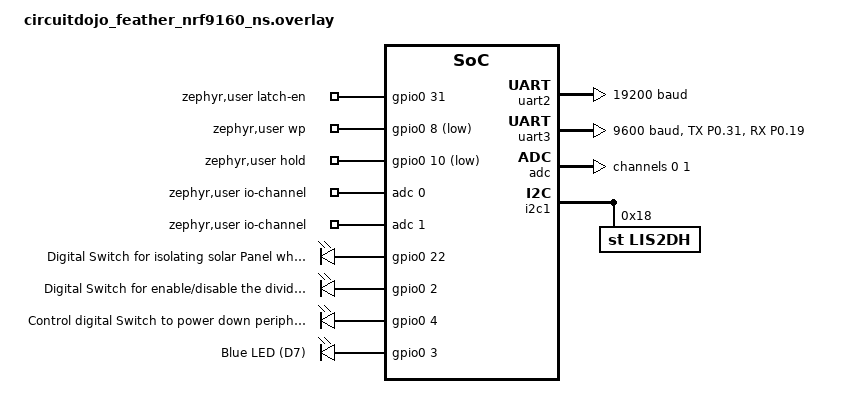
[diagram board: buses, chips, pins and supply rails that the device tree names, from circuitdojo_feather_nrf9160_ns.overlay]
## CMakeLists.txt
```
cmake_minimum_required(VERSION 3.20.0)
find_package(Zephyr REQUIRED HINTS $ENV{ZEPHYR_BASE})

project(flute_iridium_ultrasound)

include_directories("include/")

target_include_directories(app PRIVATE src)

target_sources(app PRIVATE 
                        src/main.c src/iridium_uart.c src/astar_diurnal.c src/switch_opencircuit.c 
                        src/read_Vpv.c src/read_Vcap.c src/read_Vsupply.c 
                        src/switch_Vpv_divider.c src/switch_peripheral_power.c
                        src/uart_sensor.c src/lowpower.c 
                        )
```

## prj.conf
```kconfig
# Stacks and heaps
CONFIG_MAIN_STACK_SIZE=8192
CONFIG_HEAP_MEM_POOL_SIZE=16384
CONFIG_WATCHDOG=n

CONFIG_BOOTLOADER_MCUBOOT=y

CONFIG_REBOOT=y
CONFIG_DEBUG=n
CONFIG_NEWLIB_LIBC=y
CONFIG_NEWLIB_LIBC_FLOAT_PRINTF=y

CONFIG_GPIO=y
CONFIG_ADC=y
CONFIG_ADC_NRFX_SAADC=y

# Add the accelerometer
CONFIG_SENSOR=y
CONFIG_LIS2DH=y

CONFIG_I2C=y
CONFIG_CBPRINTF_FP_SUPPORT=y

CONFIG_LIS2DH_TRIGGER_GLOBAL_THREAD=y
CONFIG_LIS2DH_ODR_RUNTIME=y

# CONFIG_SPI=y
# CONFIG_SPI_NOR=y
# CONFIG_SPI_NOR_FLASH_LAYOUT_PAGE_SIZE=4096
# CONFIG_SPI_NOR_IDLE_IN_DPD=y

# CONFIG_FLASH=y
# CONFIG_FLASH_MAP=y
# CONFIG_FLASH_PAGE_LAYOUT=y

CONFIG_UART_ASYNC_API=y

# Disable SP3 (External flash) to use UART3 (Ultrasonic Sensor))
CONFIG_SPI_NOR=n
CONFIG_FLASH=n


CONFIG_LOG=y
CONFIG_CBPRINTF_FP_SUPPORT=y
CONFIG_NEWLIB_LIBC=y
CONFIG_SERIAL=y
CONFIG_UART_CONSOLE=y
CONFIG_LOG_BACKEND_UART=y
CONFIG_SERIAL=y
# Async UART (required for uart_callback_set / uart_tx / uart_rx_enable)
CONFIG_UART_ASYNC_API=y
# CONFIG_LOG_PRINTK=n

# To print LOG messages immediately
CONFIG_LOG_BACKEND_UART_ASYNC=n      # Force sync UART for logs
CONFIG_LOG_MODE_IMMEDIATE=y          # Process logs immediately (for debugging)
# Explicitly set INF level
CONFIG_LOG_DEFAULT_LEVEL=3
CONFIG_LOG=y
# CONFIG_LOG_MODE_DEFERRED=n
# CONFIG_LOG_PROCESS_THREAD=y
# CONFIG_LOG_PROCESS_THREAD_STACK_SIZE=2048      

CONFIG_PM_DEVICE=y

# Network
CONFIG_NETWORKING=y
CONFIG_NET_SOCKETS=y
CONFIG_NET_NATIVE=n
CONFIG_NET_SOCKETS_OFFLOAD=y

# Modem library
CONFIG_NRF_MODEM_LIB=y
CONFIG_NRF_MODEM_LIB_TRACE=n

# LTE link control
CONFIG_LTE_LINK_CONTROL=y

# PSM & eDRX enable
CONFIG_LTE_EDRX_REQ=y
CONFIG_LTE_PSM_REQ=y

# ***************** Ultra low power from Circuit Dojo - S ***********************   
# CONFIG_DEBUG=n
# Add the accelerometer
# CONFIG_I2C=y
# CONFIG_SENSOR=y
# CONFIG_LIS2DH=y
CONFIG_LIS2DH_TRIGGER_GLOBAL_THREAD=y
CONFIG_LIS2DH_ODR_RUNTIME=y

# SPI Flash
# CONFIG_SPI=y
# CONFIG_SPI_NOR=y
# CONFIG_SPI_NOR_FLASH_LAYOUT_PAGE_SIZE=4096
# CONFIG_SPI_NOR_IDLE_IN_DPD=y

# Enable flash operations.
# CONFIG_FLASH=y
# CONFIG_FLASH_MAP=y
# CONFIG_FLASH_PAGE_LAYOUT=y

# CONFIG_LOG=y
# CONFIG_LOG_MODE_DEFERRED=y
# CONFIG_LOG_PROCESS_THREAD=y
# CONFIG_LOG_PROCESS_THREAD_STACK_SIZE=2048

# CONFIG_UART_CONSOLE=y
# CONFIG_LOG_BACKEND_UART=y
# CONFIG_SERIAL=y
# CONFIG_LOG_PRINTK=n

# Zephyr Device Power Management
CONFIG_PM_DEVICE=y
# CONFIG_PM=y

# Network
# CONFIG_NETWORKING=y
# CONFIG_NET_SOCKETS=y
# CONFIG_NET_NATIVE=n
CONFIG_NET_SOCKETS_POSIX_NAMES=y

# LTE link control
# CONFIG_LTE_LINK_CONTROL=y

# Modem library
# CONFIG_NRF_MODEM_LIB=y
CONFIG_NRF_MODEM_LIB_TRACE=n

# PSM & eDRX enable
CONFIG_LTE_EDRX_REQ=y
CONFIG_LTE_PSM_REQ=y

# Async
# CONFIG_UART_ASYNC_API=y
CONFIG_UART_LINE_CTRL=y

# Enable Zephyr application to be booted by MCUboot
# CONFIG_BOOTLOADER_MCUBOOT=y
# CONFIG_IMG_MANAGER=y
# CONFIG_STREAM_FLASH=y
# CONFIG_MCUBOOT_IMG_MANAGER=y
# CONFIG_IMG_ERASE_PROGRESSIVELY=y
# ***************** Ultra low power from Circuit Dojo - E ***********************
```

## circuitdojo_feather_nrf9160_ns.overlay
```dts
// *************************** Iridium: uart2 - S **************************
&pinctrl {
    uart2_default: uart2_default {
        group1 {
                psels = <NRF_PSEL(UART_TX, 0, 23)>,            // Blue
                        <NRF_PSEL(UART_RX, 0, 24)>;            // Green
        };
    };

    uart2_sleep: uart2_sleep {
        group1 {
                psels = <NRF_PSEL(UART_TX, 0, 23)>,            // Blue
                        <NRF_PSEL(UART_RX, 0, 24)>;            // Green
                low-power-enable;
        };
    };
};

&uart2{
    status = "okay";
    current-speed = <19200>;  // Iridium 9603 baud rate is 19200bps
};
// *************************** Iridium: uart2 - E **************************


// *************************** Ultrasound sensor: uart3 - S **************************

&spi3 {
    status = "disabled";        // Used by external flash by default
};

&pinctrl {
    uart3_default: uart3_default {
        group1 {
                psels = <NRF_PSEL(UART_TX, 0, 31)>,            // Blue
                        <NRF_PSEL(UART_RX, 0, 19)>;            // Green
        };
    };

    uart3_sleep: uart3_sleep {
        group1 {
                psels = <NRF_PSEL(UART_TX, 0, 31)>,            // Blue
                        <NRF_PSEL(UART_RX, 0, 19)>;            // Green
                low-power-enable;
        };
    };
};

&uart3{
    status = "okay";
    current-speed = <9600>;  // Sensor baud rate is 9600bps
    
    pinctrl-0 = <&uart3_default>;
    pinctrl-1 = <&uart3_sleep>;
    pinctrl-names = "default", "sleep";
};
// *************************** Ultrasound sensor: uart1 - E **************************


/* ======================================================================== */
//*************************** ADC Config. for READING Vpv - S **************************
/ {
	zephyr,user {
		io-channels = <&adc 0>, <&adc 1>;
	};
};

&adc {
	#address-cells = <1>;
	#size-cells = <0>;
    
	channel@0 {
		reg = <0>;
		zephyr,gain = "ADC_GAIN_1_6";
		zephyr,reference = "ADC_REF_INTERNAL";
		zephyr,acquisition-time = <ADC_ACQ_TIME_DEFAULT>;
		zephyr,input-positive = <NRF_SAADC_AIN0>;
		
        zephyr,resolution = <14>;
	};

	channel@1 {
		reg = <1>;
		zephyr,gain = "ADC_GAIN_1_6";
		zephyr,reference = "ADC_REF_INTERNAL";
		zephyr,acquisition-time = <ADC_ACQ_TIME_DEFAULT>;
		zephyr,input-positive = <NRF_SAADC_AIN1>; // P0.04
		
        zephyr,resolution = <14>;
	};
};

//********************  ADC Config. for READING Vpv - E **********************



//**************** Turn OFF DS isolating the solar panel when V > Vmax or measuring Vsolar (S2) *****************
/{    
    OpenCircuit_sw{
		compatible = "gpio-leds";
        label = "Digital Switch for isolating solar Panel";
		OpenCircuit: pv_pannel_switch{
			gpios = <&gpio0 22 (GPIO_PULL_UP | GPIO_ACTIVE_HIGH)>;
            label = "Digital Switch for isolating solar Panel when V > Vmax";
		};
    };

    aliases {
        opencircuit = &OpenCircuit;
    };
};
//***************** Turn OFF DS isolating the solar panel when V > Vmax or measuring Vsolar (S2) - E ****************


//********************* Enable/Disable the divider of V_solar reading (S1) - S ******************** 
/{  
    Vpv_divider_sw{
		compatible = "gpio-leds";
        label = "Digital Switch for enabling/disabling the divider of V_solar reading";
		divider: Vpv_divider_sw{
            gpios = <&gpio0 2 GPIO_ACTIVE_HIGH>;
			label = "Digital Switch for enable/disable the divider of V_solar reading";
		};
    };
    
    aliases {
        vpvdividersw = &divider;
    };
};
//***************** Enable/Disable the divider of V_solar reading (S1) - E ******************


// *************************** Control digital Switch to power down peripherals - S3 **************************
/{    
    peripheral_power_sw{
		compatible = "gpio-leds";
        label = "Control digital Switch to power down peripherals";
		PERIPH_SW: peripheral_power_sw {
			gpios = <&gpio0 4 (GPIO_PULL_DOWN | GPIO_ACTIVE_HIGH)>;            // Pin 4; High level when pin is set
			label = "Control digital Switch to power down peripherals";
		};
    };
    
    aliases {
        periphsw = &PERIPH_SW;                  // Switch for powering down peripherals
    };
};
// *************************** Control digital Switch to power down peripherals - S3 **************************



// ******************** Ultra Low power (Circuit Dojo's) - S ********************
/{
    zephyr,user {
        latch-en-gpios = <&gpio0 31 GPIO_ACTIVE_HIGH>;
        wp-gpios = < &gpio0 8 GPIO_ACTIVE_LOW >;
        hold-gpios = < &gpio0 10 GPIO_ACTIVE_LOW >;
    };

    leds {
        compatible = "gpio-leds";
        blue_led: led_0 {
            // gpios = <&gpio0 3 GPIO_ACTIVE_HIGH>;
            gpios = <&gpio0 3 GPIO_PULL_DOWN>;
            label = "Blue LED (D7)";
        };
    };
};
    
// Turn off GPIO0 when sleeping - reduce by 150uA
&gpio0 {
    sense-edge-mask = <0xffff>;
};

// Isolate sdo and sa0 pins - reduce leakage current of around 140uA 
&i2c1 {
    lis2dh@18 {
        compatible = "st,lis2dh";
        reg = <0x18>;
        disconnect-sdo-sa0-pull-up;
    };
};
    
&spi3 {
    w25q32jv: w25q32jv@0 {
        /delete-property/ wp-gpios;
        /delete-property/ hold-gpios;
        t-enter-dpd = < 3500 >;
        t-exit-dpd = < 3500 >;
    };
};
// Stop - ******************** Ultra Low power (Circuit Dojo's) - E ********************
```

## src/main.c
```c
/*
 * main.c — Iridium satellite modem application entry point.
 *
 * Frame format (10 bytes):
 *   [0-1]:  Sleep time (16-bit big-endian)
 *   [2-3]:  Vcap (16-bit big-endian)
 *   [4-5]:  Vpv (16-bit big-endian)
 *   [6-7]:  Sensor reading (16-bit big-endian)
 *   [8-9]:  Signal quality from modem (16-bit big-endian)
 *
 * Total: 10 bytes of data (no checksum - modem adds its own)
 */

#include <zephyr/device.h>
#include <zephyr/devicetree.h>
#include <zephyr/kernel.h>
#include <zephyr/sys/util.h>
#include <zephyr/drivers/gpio.h>
#include <zephyr/sys/reboot.h>
#include <zephyr/logging/log.h>
#include <stdlib.h>
#include <inttypes.h>
#include <stddef.h>
#include <stdint.h>
#include <zephyr/sys/byteorder.h>

// Modem libraries for Low power
#include <modem/lte_lc.h>
#include <modem/nrf_modem_lib.h>

#include "config.h"
#include "astar_diurnal.h"
#include "read_Vcap.h"
#include "read_Vsupply.h"
#include "switch_Vpv_divider.h"
#include "switch_opencircuit.h"
#include "switch_peripheral_power.h"
#include "lowpower.h"
#include "uart_sensor.h"
#include "iridium_uart.h"

LOG_MODULE_REGISTER(iridium_main, LOG_LEVEL_INF);

const bool ENABLE_PRINT = true;

static uint16_t distance;
static uint16_t newV;
static uint32_t sleep_duration;
static uint16_t Vpv;

uint8_t frame[FRAME_SIZE];
static const iridium_t *satellite;
static void build_frame(uint8_t *frame);

// ---------------------------------------------------------------------------
// AsTAR++ Configuration
// ---------------------------------------------------------------------------
/**
 * @brief AsTAR++ algorithm configuration parameters.
 *
 * Modify these values to tune the algorithm for your specific hardware and
 * application requirements.
 */
static const astar_config_t astar_params = {
    .USE_BOOST = false,

    .maxVoltage               = 5100,
    .shutOffVoltage           = 3300,
    .daytimeOptimumV          = 4900,
    .OpenCircuitVoltage       = 5400,
    .wakeup_Vpv_Threshold     = 4000,
    .sleep_Vpv_Threshold      = 3800,
    .check_overVcap_threshold = 3900,

    .maxRate                        = 120,
    .minRate                        = 7200,
    .nighttimeMaxRate               = 120,
    .LowVolt_SleepTime              = 7200,
    .daily_initial_wakeup_SleepTime = 600,
    .daily_initial_sleep_SleepTime  = 300,

    .nightDurationRollingEstimate = 40000,
    .safe_floor_margin = 115,  // 15% above shutoff voltage to prevent brown-out
};


// ---------------------------------------------------------------------------
// Overvoltage Protection Thread
// ---------------------------------------------------------------------------
#define OVER_V_STACK_SIZE 2048
#define OVER_V_PRIORITY   4
K_THREAD_DEFINE(over_v_id, OVER_V_STACK_SIZE, overV_protection_thread,
                NULL, NULL, NULL, OVER_V_PRIORITY, 0, 0);

// ---------------------------------------------------------------------------
// Modem-Rail Protection                                                      
// ---------------------------------------------------------------------------
/**
 * @brief /* modem_rail_mutex is defined in astar_diurnal.c and declared extern in
 * astar_diurnal.h.  Hold it while calling modem_transmitData() so the overV
 * thread cannot reconnect the solar panel, leading to unstable rail current, 
 * during a transmission. */
 */
// K_MUTEX_DEFINE(modem_rail_mutex);

/* -------------------------------------------------------------------------
 * Main entry point
 * ---------------------------------------------------------------------- */
int main(void)
{   

    int8_t vu_counter = 0;




    if (ENABLE_PRINT)
        LOG_INF("Entering main function .....");

    // ── Low-power peripheral setup ────────────────────────────────────────
    lowpower_setup_gpio();
    lowpower_setup_accel();
    lowpower_setup_uart0_DIS();

    // ── AsTAR++ initialisation ────────────────────────────────────────────
    astar_init(&astar_params);

    // ── GPIO checks ───────────────────────────────────────────────────────
    if (check_gpio_sw_opencircuit()) {
        if (ENABLE_PRINT)
            LOG_INF("Open-circuit switch GPIO not found in Devicetree");
        k_sleep(K_FOREVER);
    }

    if (check_gpio_Vpv_divider()) {
        if (ENABLE_PRINT)
            LOG_INF("Vpv divider switch GPIO not found in Devicetree");
        k_sleep(K_FOREVER);
    }

    if (check_gpio_periph_sw()) {
        if (ENABLE_PRINT)
            LOG_INF("Peripheral power switch GPIO not found in Devicetree");
        k_sleep(K_FOREVER);
    }

    // Disable Vpv divider to save energy during modem connection
    disable_Vpv_divider();
    
    // Init cellular modem - low-power sleep
	nrf_modem_lib_init();
	lte_lc_init();

    // Iridium UART setup
    satellite = iridium_get();

    while (1) {

        vu_counter = vu_counter + 1;
        if (vu_counter>=50)
            k_sleep(K_FOREVER);




        // lowpower_setup_uart0_ENA();    // Enable UART0 console for debugging during wakeup - Just for testing (should be disabled) 




        //====================================================================
        // 1. Voltage check — deep sleep immediately if Vcap is too low
        //====================================================================
    rerun_astar_after_suspension:
        // Read current Vcap
        newV = astar_safe_read_vcap();
        // Update internal state
        astar_safe_update_vcap(newV);

        if (astar_should_suspend()) {
            lowpower_setup_uart0_DIS();     // avoid wasting power during long suspension sleep
            setSuspensionHandler();
            goto rerun_astar_after_suspension;
        }

        //====================================================================
        // 2. Sensor reading
        //====================================================================
        periph_sw_turn_on();
        k_sleep(K_MSEC(1000));          // Vu - MUST EQUAL OR HIGHER THIS DELAY - Wait for sensor power stabilisation
        distance = get_safe_distance_cm();

        //========================================================================
        // 3. Iridium UART setup
        //========================================================================
        lowpower_setup_uart2_ENA();

        if (ENABLE_PRINT)
            LOG_INF("Initializing Iridium UART driver...");
        int ret = satellite->uart_init();
        if (ret != 0) {
            LOG_ERR("satellite->uart_init() failed: %d — powering down and retrying next cycle", ret);
            satellite->uart_deinit();       // Elways execute it before powering down to ensure clean shutdown of UART and avoid potential issues on next init
            lowpower_setup_uart2_DIS();
            lowpower_setup_uart3_DIS();
            // lowpower_setup_uart0_DIS();
            periph_sw_turn_off();
            // k_sleep(K_SECONDS(sleep_duration > 0 ? sleep_duration : 120U));
            // continue;
        }

        if (ENABLE_PRINT)
            LOG_INF("Iridium UART driver initialized successfully");

        
        





        //====================================================================
        // 4. AsTAR++ scheduler
        //====================================================================
        if (ENABLE_PRINT)
            LOG_INF("Running AsTAR++ scheduler...");
        sleep_duration = schedule();

        //====================================================================
        // 5. Prepare data frame
        //====================================================================
        Vpv = astar_get_vpv_mv();


        build_frame(frame);
        
        //====================================================================
        // 6. Prepare data frame and transmit it to server
        //====================================================================
        // k_mutex_lock(&modem_rail_mutex, K_FOREVER);
        satellite->send_binary(frame, FRAME_SIZE);
        // k_mutex_unlock(&modem_rail_mutex);

        //====================================================================
        // 7. Control charging based on Vpv and open-circuit voltage
        //====================================================================
        // Reconnect solar only when Vcap is below the opencircuit threshold because we disable it before reading Vpv
        // ONLY DO THIS AFTER sending data to avoid the inrush current issue when reconnecting solar panel at high Vpv
        
        if (newV > astar_get_open_circuit_voltage())
            disable_charging();
        else
            enable_charging();

        //====================================================================
        // 8. Power down peripherals and suspend UART before sleep
        //====================================================================
            /**
             * @note: We should NOT turn off UART0 and UART3 somewhere 
             *        while uart2 (satellite communication) is active to prevent
             *        high_speed_clock is turn off broking satellite communication
             */
        satellite->uart_deinit();      /* stop async RX cleanly before PM suspend */
        lowpower_setup_uart2_DIS();

        
        // lowpower_setup_uart0_DIS();
        
        periph_sw_turn_off();
        
        //====================================================================
        // 9. Deep sleep
        //====================================================================
        if (ENABLE_PRINT)
            LOG_INF("Sleeping for %d s", sleep_duration);
        k_sleep(K_SECONDS(sleep_duration));    
        // k_sleep(K_FOREVER);  // Sleep indefinitely after one transmission for testing
    }

    return 0;
}



/*==========================================================================================================*/
/* -------------------------------------------------------------------------
 * Frame helpers
 * ---------------------------------------------------------------------- */

/* Reads sensor and signal quality, packs all values into the 10-byte
 * big-endian frame that will be transmitted to the satellite. */
static void build_frame(uint8_t *frame)
{
    int signal_quality = satellite->get_rssi();
    if (signal_quality < 0 || signal_quality > 99) {
        LOG_WRN("Invalid signal quality %d, using 99", signal_quality);
        signal_quality = 99;
    }

    uint16_t sleep_time_be = sys_cpu_to_be16((uint16_t)sleep_duration);
    uint16_t vcap_be       = sys_cpu_to_be16((uint16_t)newV);
    uint16_t vpv_be        = sys_cpu_to_be16((uint16_t)Vpv);
    uint16_t sensor_be     = sys_cpu_to_be16((uint16_t)distance);
    uint16_t signal_be     = sys_cpu_to_be16((uint16_t)signal_quality);

    frame[0] = (uint8_t)(sleep_time_be >> 8);
    frame[1] = (uint8_t)(sleep_time_be & 0xFF);
    frame[2] = (uint8_t)(vcap_be >> 8);
    frame[3] = (uint8_t)(vcap_be & 0xFF);
    frame[4] = (uint8_t)(vpv_be >> 8);
    frame[5] = (uint8_t)(vpv_be & 0xFF);
    frame[6] = (uint8_t)(sensor_be >> 8);
    frame[7] = (uint8_t)(sensor_be & 0xFF);
    frame[8] = (uint8_t)(signal_be >> 8);
    frame[9] = (uint8_t)(signal_be & 0xFF);

    if (ENABLE_PRINT) {
        LOG_INF("Frame built (%u bytes):", FRAME_SIZE);
        LOG_INF("  Sleep_time: %u sec", sleep_duration);
        LOG_INF("  Vcap:       %u mV", newV);
        LOG_INF("  Vpv:        %u mV", Vpv);
        LOG_INF("  Sensor:     %u", distance);
        LOG_INF("  Signal:     %d", signal_quality);
        LOG_DBG("Frame bytes:");
        LOG_DBG("  [0-4]: 0x%02X 0x%02X 0x%02X 0x%02X 0x%02X",
                frame[0], frame[1], frame[2], frame[3], frame[4]);
        LOG_DBG("  [5-9]: 0x%02X 0x%02X 0x%02X 0x%02X 0x%02X",
                frame[5], frame[6], frame[7], frame[8], frame[9]);
    }
}
```

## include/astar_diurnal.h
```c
//=============================================================================#
/**
 * @brief: AsTAR++ Algorithm
 *
 * Energy-adaptive task scheduling algorithm for battery-free IoT devices.
 * All internal state is encapsulated - access through provided functions only.
 */
//=============================================================================#

#ifndef APPLICATION_ASTAR_DIURNAL_H
#define APPLICATION_ASTAR_DIURNAL_H

#include <stdint.h>
#include <stdbool.h>
#include <zephyr/kernel.h>

// ---------------------------------------------------------------------------#
// Configuration Structure                                                    #
// ---------------------------------------------------------------------------#

typedef struct {
    // Voltage thresholds (mV)
    uint16_t maxVoltage;              // Maximum allowable capacitor voltage
    uint16_t shutOffVoltage;          // Voltage to suspend system (above brown-out)
    uint16_t daytimeOptimumV;         // Target voltage during daytime
    uint16_t OpenCircuitVoltage;      // Voltage to disconnect solar panel
    uint16_t wakeup_Vpv_Threshold;    // Vpv threshold to enter daytime mode
    uint16_t sleep_Vpv_Threshold;     // Vpv threshold to enter nighttime mode
    uint16_t check_overVcap_threshold;// Vcap threshold to check overvoltage

    // Timing parameters (seconds)
    uint32_t maxRate;                 // Minimum sleep interval (fastest rate)
    uint32_t minRate;                 // Maximum sleep interval (slowest rate)
    uint32_t nighttimeMaxRate;        // Minimum sleep interval at night
    uint16_t LowVolt_SleepTime;       // Sleep time when voltage is critical
    uint32_t daily_initial_wakeup_SleepTime;  // Sleep time at first daily wakeup
    uint32_t daily_initial_sleep_SleepTime;   // Sleep time at first daily sleep
    uint32_t nightDurationRollingEstimate;    // Initial EWMA night duration estimate
    uint16_t safe_floor_margin;         // Safe margin percentage above shutoff voltage to prevent brown-out

    // Hardware configuration
    bool USE_BOOST;                   // true if using boost converter
} astar_config_t;

// ---------------------------------------------------------------------------#
// Initialization Functions                                                   #
// ---------------------------------------------------------------------------#

/**
 * @brief Initialize AsTAR with provided configuration
 * @param config Pointer to configuration structure
 */
void astar_init(const astar_config_t *config);

// ---------------------------------------------------------------------------#
// Core Functions                                                             #
// ---------------------------------------------------------------------------#

/**
 * @brief Update the current capacitor voltage reading
 * @param vcap_mv Capacitor voltage in millivolts
 */
uint16_t astar_safe_read_vcap(void);
void astar_safe_update_vcap(uint16_t vcap_mv);

/**
 * @brief Check if system should suspend due to low voltage
 * @return true if Vcap <= shutOffVoltage
 */
bool astar_should_suspend(void);

/**
 * @brief Handle low-voltage suspension
 */
void setSuspensionHandler(void);

/**
 * @brief Run scheduler to compute next sleep interval
 * @return Recommended sleep duration in seconds
 */
uint32_t schedule(void);

/**
 * @brief Overvoltage protection thread function
 */
void overV_protection_thread(void);

// ---------------------------------------------------------------------------#
// Accessor Functions (read-only access to internal state)                    #
// ---------------------------------------------------------------------------#

// Runtime state accessors
uint16_t astar_get_vcap_mv(void);
uint16_t astar_get_vpv_mv(void);
uint32_t astar_get_sleep_timer(void);
bool astar_is_nighttime(void);
uint32_t astar_get_time_since_sunset(void);

// Configuration accessors
uint16_t astar_get_max_voltage(void);
uint16_t astar_get_shutoff_voltage(void);
uint16_t astar_get_open_circuit_voltage(void);
uint32_t astar_get_max_rate(void);
uint32_t astar_get_min_rate(void);
uint32_t astar_get_night_duration_estimate(void);
bool astar_get_use_boost(void);
uint16_t astar_get_safe_floor_margin(void);

// ---------------------------------------------------------------------------#
// Shared Synchronisation Primitives                                          #
// ---------------------------------------------------------------------------#
/* Serialises modem_transmitData() (main thread) against enable_charging() +
 * rail-stabilisation sleep (overV thread).  Defined in astar_diurnal.c.
 * Always acquire before calling modem_transmitData(). */
extern struct k_mutex modem_rail_mutex;

#endif  /*APPLICATION_ASTAR_DIURNAL_H*/
```

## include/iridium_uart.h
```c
/*
 * iridium_uart.h — UART transport layer for Iridium 9602/9603 modem
 *
 * SEMAPHORE VERSION — Event-driven approach with zero polling overhead.
 *
 * Uses semaphores to block threads until responses arrive, eliminating
 * the need for periodic polling loops. The UART callback signals the
 * semaphore immediately when a complete response is detected.
 *
 * Hardware: nRF9160, Iridium module on uart2 (19 200 baud, set in overlay).
 */

#ifndef IRIDIUM_UART_H
#define IRIDIUM_UART_H

#include <stdbool.h>
#include <stddef.h>
#include <stdint.h>
#include <zephyr/kernel.h>

#ifdef __cplusplus
extern "C" {
#endif

/* -------------------------------------------------------------------------
 * Application configuration
 * ---------------------------------------------------------------------- */

/** Pause between transmission cycles (milliseconds). */
#define CYCLE_INTERVAL_MS    300000

/** AT basic command timeout (seconds). */
#define TIMEOUT_AT_S         5

/** AT+SBDWB timeout (seconds). */
#define TIMEOUT_SBDWB_S      5

/** AT+SBDIX timeout (seconds) — satellite acquisition can be slow. */
#define TIMEOUT_SBDIX_S      30     // 120

/** Data frame size (bytes). */
#define FRAME_SIZE           10U

/* -------------------------------------------------------------------------
 * Constants
 * ---------------------------------------------------------------------- */

/** Maximum AT command length including the trailing CR (bytes). */
#define IRIDIUM_CMD_MAX_LEN          128U

/** Maximum accumulated response length (bytes). */
#define IRIDIUM_RESP_MAX_LEN         512U

/**
 * Maximum binary SBD payload (data only, excluding the 2-byte checksum).
 * The Iridium SBD protocol supports up to 340 bytes.
 */
#define IRIDIUM_SBD_MAX_BINARY_LEN   340U

/* -------------------------------------------------------------------------
 * Return / result codes
 * ---------------------------------------------------------------------- */

/**
 * @brief  Result of any Iridium modem operation.
 */
typedef enum {
    IRIDIUM_OK       =  0,      /**< Operation succeeded.                   */
    IRIDIUM_ERROR    = -1,      /**< Modem returned ERROR.                  */
    IRIDIUM_TIMEOUT  = -2,      /**< No response within the timeout.        */
    IRIDIUM_TX_FAIL  = -3,      /**< Failed to transmit over UART.          */
    IRIDIUM_INIT_ERR = -4,      /**< Driver initialisation failure.         */
    IRIDIUM_BAD_ARG  = -5,      /**< Invalid argument (NULL / out-of-range).*/
    IRIDIUM_CHKSUM      = -6,   /**< Modem rejected binary checksum.        */
    IRIDIUM_NO_NETWORK  = -7,   /**< SBDIX MO status: no network service.   */
} iridium_result_t;

/* -------------------------------------------------------------------------
 * Struct API
 * ---------------------------------------------------------------------- */

/**
 * @brief  Function pointer table for the Iridium modem interface.
 *
 * Obtain a pointer to the singleton instance via iridium_get().
 * Call members with the -> operator:
 *
 *   const iridium_t *satellite = iridium_get();
 *   satellite->uart_init();
 *   satellite->send_text("hello", 60);
 */
typedef struct {
    /** Initialise the UART transport (call once at startup). */
    int              (*uart_init)    (void);

    /** Stop async RX cleanly before PM suspend (call before uart2_DIS). */
    void             (*uart_deinit)  (void);

    /** Send an AT command and block until expected response or timeout. */
    iridium_result_t (*send_cmd)     (const char *cmd,
                                      const char *expected_resp,
                                      int         timeout_s);

    /** Load binary payload into SBD TX buffer via AT+SBDWB. */
    iridium_result_t (*sbd_write)    (const uint8_t *data,
                                      size_t         len,
                                      int            timeout_s);

    /** Initiate satellite SBD exchange via AT+SBDIX. */
    iridium_result_t (*sbd_initiate) (int timeout_s);

    /** Query RSSI via AT+CSQ. Returns 0-31, or 99 if unknown. */
    int              (*get_rssi)     (void);

    /** Retrieve 15-digit IMEI via AT+CGSN into buf (>= 16 bytes). */
    int              (*get_imei)     (char *buf, size_t buf_len);

    /** Convert a result code to a human-readable string. */
    const char      *(*result_str)   (iridium_result_t result);

    /** Load text via AT+SBDWT and initiate satellite exchange. */
    iridium_result_t (*send_text)    (const char *msg, int timeout_s);

    /** AT check then write frame to modem and initiate exchange. */
    void             (*send_binary)  (const uint8_t *frame, size_t len);
} iridium_t;

/**
 * @brief  Return a pointer to the singleton Iridium interface.
 *
 * Usage:
 *   const iridium_t *satellite = iridium_get();
 *   satellite->uart_init();
 *
 * @return  Pointer to the static iridium_t instance; never NULL.
 */
const iridium_t *iridium_get(void);

#ifdef __cplusplus
}
#endif

#endif /* IRIDIUM_UART_H */
```

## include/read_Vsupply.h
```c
//=============================================================================#
/**
 * @brief: Read MCU Supply Voltage
 *
 * Reads the supply voltage powering the CircuitDojo nRF9160.
 * Used when the system operates without a boost converter.
 */
//=============================================================================#

#ifndef APPLICATION_READ_VOLATGE_SUPPLY_H
#define APPLICATION_READ_VOLATGE_SUPPLY_H


/** Enable or disable measurement of the battery voltage.
 *
 * @param enable true to enable, false to disable
 *
 * @return zero on success, or a negative error code.
 */
int16_t battery_measure_enable(bool enable);

/** Measure the battery voltage.
 *
 * @return the battery voltage in millivolts, or a negative error
 * code.
 */
int16_t battery_sample(void);

/** A point in a battery discharge curve sequence.
 *
 * A discharge curve is defined as a sequence of these points, where
 * the first point has #lvl_pptt set to 10000 and the last point has
 * #lvl_pptt set to zero.  Both #lvl_pptt and #lvl_mV should be
 * monotonic decreasing within the sequence.
 */
struct battery_level_point {
	/** Remaining life at #lvl_mV. */
	uint16_t lvl_pptt;

	/** Battery voltage at #lvl_pptt remaining life. */
	uint16_t lvl_mV;
};

/** Calculate the estimated battery level based on a measured voltage.
 *
 * @param batt_mV a measured battery voltage level.
 *
 * @param curve the discharge curve for the type of battery installed
 * on the system.
 *
 * @return the estimated remaining capacity in parts per ten
 * thousand.
 */
uint16_t battery_level_pptt(uint16_t batt_mV,
				const struct battery_level_point *curve);

int16_t  battery_setup(void);
uint16_t read_Vsupp_mv(void);

#endif /* APPLICATION_READ_VOLATGE_SUPPLY_H */
```

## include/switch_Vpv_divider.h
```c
//=============================================================================#
/**
 * @brief: Solar Panel Voltage Divider Switch Control
 *
 * Controls a digital switch that enables a voltage divider for
 * reading the solar panel open-circuit voltage
 */
//=============================================================================#

#ifndef APPLICATION_SWITCH_VPV_DIVIDER_H
#define APPLICATION_SWITCH_VPV_DIVIDER_H

#include <stdbool.h>
#include <stdint.h>

int8_t check_gpio_Vpv_divider(void);
void enable_Vpv_divider(void);
void disable_Vpv_divider(void);

// Query current Vpv divider state
bool is_Vpv_divider_enabled(void);

#endif  /*APPLICATION_SWITCH_VPV_DIVIDER_H*/
```

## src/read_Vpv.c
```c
/**
 * @file read_Vpv.c
 * @brief Solar Panel Voltage Measurement
 *
 * This module provides ADC-based voltage measurement of the solar panel
 * open-circuit voltage (Vpv). The measurement requires temporarily isolating
 * the solar panel from the storage capacitor and enabling a voltage divider.
 *
 * 
 * Measurement Process:
 * 1. Disable charging (isolate solar panel from capacitor)
 * 2. Enable voltage divider
 * 3. Wait for voltage to stabilize (200ms)
 * 4. Read ADC and multiply by 2 (divider ratio)
 * 5. Disable voltage divider
 * 6. Re-enable charging
 *
 * 
 * @author DistriNet LAB, KU Leuven
 *
 * MIT License
 *
 * Copyright (c) 2026 DistriNet, KU Leuven
 *
 * Permission is hereby granted, free of charge, to any person obtaining a copy
 * of this software and associated documentation files (the "Software"), to deal
 * in the Software without restriction, including without limitation the rights
 * to use, copy, modify, merge, publish, distribute, sublicense, and/or sell
 * copies of the Software, and to permit persons to whom the Software is
 * furnished to do so, subject to the following conditions:
 *
 * The above copyright notice and this permission notice shall be included in all
 * copies or substantial portions of the Software.
 *
 * THE SOFTWARE IS PROVIDED "AS IS", WITHOUT WARRANTY OF ANY KIND, EXPRESS OR
 * IMPLIED, INCLUDING BUT NOT LIMITED TO THE WARRANTIES OF MERCHANTABILITY,
 * FITNESS FOR A PARTICULAR PURPOSE AND NONINFRINGEMENT. IN NO EVENT SHALL THE
 * AUTHORS OR COPYRIGHT HOLDERS BE LIABLE FOR ANY CLAIM, DAMAGES OR OTHER
 * LIABILITY, WHETHER IN AN ACTION OF CONTRACT, TORT OR OTHERWISE, ARISING FROM,
 * OUT OF OR IN CONNECTION WITH THE SOFTWARE OR THE USE OR OTHER DEALINGS IN THE
 * SOFTWARE.
 */

#include <zephyr/device.h>
#include <zephyr/devicetree.h>
#include <zephyr/drivers/adc.h>
#include <zephyr/kernel.h>
#include <zephyr/sys/printk.h>
#include <zephyr/sys/util.h>
#include <zephyr/logging/log.h>

#include "config.h"
#include "read_Vpv.h"
#include "opencircuit.h"
#include "switch_Vpv_divider.h"

LOG_MODULE_REGISTER(read_solar);

// ADC configuration (implementation details)
#define ADC_NUM_CHANNELS        1
#define ADC_NODE                DT_PHANDLE(DT_PATH(zephyr_user), io_channels)
#define ADC_RESOLUTION          14
#define ADC_GAIN                ADC_GAIN_1_6
#define ADC_REFERENCE           ADC_REF_INTERNAL
#define ADC_ACQUISITION_TIME    ADC_ACQ_TIME_DEFAULT

int32_t sample_buffer[ADC_NUM_CHANNELS];
int32_t avg_reading[ADC_NUM_CHANNELS];


#if !DT_NODE_EXISTS(DT_PATH(zephyr_user)) || \
 	!DT_NODE_HAS_PROP(DT_PATH(zephyr_user), io_channels)
 	#error "No suitable devicetree overlay specified"
 #endif


 /* Get the numbers of up to two channels */
static uint8_t channel_ids[ADC_NUM_CHANNELS] = {
	DT_IO_CHANNELS_INPUT_BY_IDX(DT_PATH(zephyr_user), 0),
#if ADC_NUM_CHANNELS == 2
	DT_IO_CHANNELS_INPUT_BY_IDX(DT_PATH(zephyr_user), 1)
#endif
};

// V- Used to configure each specific channel's parameters
struct adc_channel_cfg channel_cfg = {
	.gain = ADC_GAIN,
	.reference = ADC_REFERENCE,
	.acquisition_time = ADC_ACQ_TIME(ADC_ACQ_TIME_MICROSECONDS, 40),
	.channel_id = 0,
	.differential = 0
};

/**
 * @brief: V- This struct is ONLY used to specify a "buffer" where an ADC readings is saved
 */
	struct adc_sequence sequence = {
	.channels    = 0,
	.buffer      = sample_buffer,
	.buffer_size = sizeof(sample_buffer),		/* buffer size in bytes, not number of samples */
	.resolution  = ADC_RESOLUTION,
};


/**
 * @brief Read raw ADC value from solar panel voltage divider
 *
 * Performs ADC reading of the solar panel voltage through the voltage
 * divider circuit. Takes 5 consecutive readings and returns the average.
 *
 * The function:
 * 1. Verifies ADC device is ready
 * 2. Configures the ADC channel for the appropriate input
 * 3. Takes 5 samples with delays for stability
 * 4. Filters out invalid readings
 * 5. Converts to millivolts and averages
 *
 * @note This returns the divided voltage. Caller must multiply by
 *       divider ratio (2x) to get actual solar panel voltage.
 *
 * @return ADC reading in millivolts (after divider), 1 on error
 */
uint16_t read_adc(void)
{
	int err;
	const struct device *dev_adc = DEVICE_DT_GET(ADC_NODE);

	if (!device_is_ready(dev_adc)) {
			LOG_ERR("ADC device not found");
		return 1;
	}
	sequence.channels = 0;
	for (uint8_t i = 0; i < ADC_NUM_CHANNELS; i++) {
		channel_cfg.channel_id = channel_ids[i];
		#ifdef CONFIG_ADC_NRFX_SAADC
			channel_cfg.input_positive = SAADC_CH_PSELP_PSELP_AnalogInput0 + channel_ids[i];    // Specify the input pin for ADC channel
		#endif
		adc_channel_setup(dev_adc, &channel_cfg);
		k_sleep(K_MSEC(5));
		sequence.channels |= BIT(channel_ids[i]);
	}

	int32_t adc_vref = adc_ref_internal(dev_adc);
	k_sleep(K_MSEC(5));

	if (ENABLE_PRINT)
    	LOG_INF("Start reading V_Solar_Pannels...");
	memset(avg_reading, 0, sizeof(avg_reading));
    for (uint8_t i = 0; i < ADC_NUM_CHANNELS; i++) {
		avg_reading[i] = 0;
        for (uint8_t m = 0; m < 5; m++)
		{
			memset(sample_buffer, 0, sizeof(sample_buffer));
			err = adc_read(dev_adc, &sequence);
			k_sleep(K_MSEC(20));
			if (err != 0) {
				LOG_ERR("ADC reading failed with error %d", err);
				return 1;
			}

			// Convert raw reading to millivolts
			int32_t raw_value = sample_buffer[i];
			if (((raw_value < 0) || (raw_value > 30000)))
				raw_value = 0;
        	if (adc_vref > 0) {
				int32_t mv_value = raw_value;
				adc_raw_to_millivolts(adc_vref, ADC_GAIN, ADC_RESOLUTION, &mv_value);
				
				// Should HIGHER THAN 15ms - This delay is very important
				k_sleep(K_MSEC(20));
				
				avg_reading[i] += mv_value;
			}
        }
    }

	// Get average  of consecutive 5-time readings
	avg_reading[0] = avg_reading[0]/5;
	return (uint16_t)avg_reading[0];
}

/**
 * @brief Measure solar panel open-circuit voltage
 *
 * Performs a complete measurement cycle of the solar panel voltage.
 * This function manages all the hardware switching needed for accurate
 * open-circuit voltage measurement.
 *
 * Measurement sequence:
 * 1. Disable charging (isolate solar panel from capacitor via a digital SW)
 * 2. Enable voltage divider
 * 3. Wait 200ms for voltage stabilization
 * 4. Read ADC and multiply by 2 (voltage divider ratio)
 * 5. Disable voltage divider
 * 6. Re-enable charging
 *
 * @note The 200ms delay is critical for accurate measurement as it allows
 *       the solar panel voltage to stabilize after isolation.
 *
 * @return Solar panel open-circuit voltage in millivolts
 */
uint16_t update_Vpv(void)
{
    enable_Vpv_divider();
	
	// Should HIGHER THAN 200ms - This delay is very important
    k_sleep(K_MSEC(200));						// This delay is very important
	
	uint16_t Vpv = 2*(read_adc());
	disable_Vpv_divider();
    /* Charging reconnection is intentionally left to the caller (schedule()).
     * Reconnecting here -- before the caller reads a fresh Vcap -- can cause a
     * large inrush current spike when Vsolar >> Vcap (e.g. Vsolar > 6000 mV),
     * which disturbs the power rail and can drop the LTE-M modem connection. */
    if (ENABLE_PRINT)
      LOG_INF("Voltage of Solar Panels - Vpv = %d mV", Vpv);

	return (Vpv);
}
```

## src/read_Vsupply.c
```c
/**
 * @file read_Vsupply.c
 * @brief MCU Supply Voltage Measurement
 *
 * This module provides ADC-based measurement of the MCU supply voltage (Vsupp).
 * Used when the system operates without a boost converter, measuring the voltage
 * that directly powers the microcontroller.
 *
 * 
 * @note Based on Nordic Semiconductor battery measurement sample code
 *
 * @copyright Copyright (c) 2018-2019 Peter Bigot Consulting, LLC
 * @copyright Copyright (c) 2019-2020 Nordic Semiconductor ASA
 * @license SPDX-License-Identifier: Apache-2.0
 *
 */

#include <math.h>
#include <stdio.h>
#include <stdlib.h>
#include <zephyr/kernel.h>
#include <zephyr/init.h>
#include <zephyr/drivers/gpio.h>
#include <zephyr/drivers/adc.h>
#include <zephyr/drivers/sensor.h>
#include <zephyr/logging/log.h>

#include "config.h"
#include "read_Vsupply.h"

LOG_MODULE_REGISTER(read_Vsupply);

#define VBATT DT_PATH(vbatt)				
#define ZEPHYR_USER DT_PATH(zephyr_user)  	

#ifdef CONFIG_BOARD_THINGY52_NRF52832
	/* This board uses a divider that reduces max voltage to
 	* reference voltage (600 mV).
 	*/
	#define BATTERY_ADC_GAIN ADC_GAIN_1
#else
	/* Other boards may use dividers that only reduce battery voltage to
 	* the maximum supported by the hardware (3.6 V)
 	*/
	#define BATTERY_ADC_GAIN ADC_GAIN_1_6	
#endif
 
struct io_channel_config {
	uint8_t channel;
};

struct divider_config {
	struct io_channel_config io_channel;
	struct gpio_dt_spec power_gpios;
	/* output_ohm is used as a flag value: if it is nonzero then
	 * the battery is measured through a voltage divider;
	 * otherwise it is assumed to be directly connected to Vdd.
	*/
	uint32_t output_ohm;
	uint32_t full_ohm;
};


static const struct divider_config divider_config = {
#if DT_NODE_HAS_STATUS(VBATT, okay)
	.io_channel = {
		DT_IO_CHANNELS_INPUT(VBATT),
	},
	.power_gpios = GPIO_DT_SPEC_GET_OR(VBATT, power_gpios, {}), 
	.output_ohm = DT_PROP(VBATT, output_ohms),
	.full_ohm = DT_PROP(VBATT, full_ohms),
#else /* /vbatt not exists */	
	.io_channel = {
		DT_IO_CHANNELS_INPUT(ZEPHYR_USER),
	},
#endif /* /vbatt exists */
};


struct divider_data {
	const struct device *adc;
	struct adc_channel_cfg adc_cfg;
	struct adc_sequence adc_seq;
	int16_t raw;
};


static struct divider_data divider_data = {
#if DT_NODE_HAS_STATUS(VBATT, okay)
	.adc = DEVICE_DT_GET(DT_IO_CHANNELS_CTLR(VBATT)),
#else
	.adc = DEVICE_DT_GET(DT_IO_CHANNELS_CTLR(ZEPHYR_USER)),
#endif
};

/**
 * @brief Configure ADC and GPIO for voltage divider measurement
 *
 * Internal setup function that:
 * 1. Verifies ADC device is ready
 * 2. Configures power GPIO if present (for enabling measurement circuit)
 * 3. Sets up ADC sequence with oversampling and calibration
 * 4. Configures channel for appropriate input (divider or VDD)
 *
 * @return 0 on success, negative error code on failure
 */
static int16_t divider_setup(void)
{
	const struct divider_config *cfg = &divider_config;
	const struct io_channel_config *iocp = &cfg->io_channel;
	const struct gpio_dt_spec *gcp = &cfg->power_gpios;
	struct divider_data *ddp = &divider_data;
	struct adc_sequence *asp = &ddp->adc_seq;
	struct adc_channel_cfg *accp = &ddp->adc_cfg;
	int16_t rc;

	if (!device_is_ready(ddp->adc)) {
		LOG_ERR("ADC device is not ready %s", ddp->adc->name);
		return -ENOENT;
	}

	if (gcp->port) {
		if (!device_is_ready(gcp->port)) {
			LOG_ERR("%s: device not ready", gcp->port->name);
			return -ENOENT;
		}
		rc = gpio_pin_configure_dt(gcp, GPIO_OUTPUT_INACTIVE);
		if (rc != 0) {
			LOG_ERR("Failed to control feed %s.%u: %d",
				gcp->port->name, gcp->pin, rc);
			return rc;
		}
	}


	*asp = (struct adc_sequence){
		.channels = BIT(0),
		.buffer = &ddp->raw,
		.buffer_size = sizeof(ddp->raw),
		.oversampling = 4,
		.calibrate = true,
	};

#ifdef CONFIG_ADC_NRFX_SAADC
	*accp = (struct adc_channel_cfg){
		.gain = BATTERY_ADC_GAIN,
		.reference = ADC_REF_INTERNAL,
		.acquisition_time = ADC_ACQ_TIME(ADC_ACQ_TIME_MICROSECONDS, 40),
	};

	if (cfg->output_ohm != 0) {
		accp->input_positive = SAADC_CH_PSELP_PSELP_AnalogInput0
			+ iocp->channel;			
	} else {
		accp->input_positive = SAADC_CH_PSELP_PSELP_VDD;
	}

	asp->resolution = 14;
#else /* CONFIG_ADC_var */
#error Unsupported ADC
#endif /* CONFIG_ADC_var */

	rc = adc_channel_setup(ddp->adc, accp);
	if (ENABLE_PRINT)
		LOG_INF("Setup AIN%u got %d", iocp->channel, rc);

	return rc;
}

static bool battery_ok;

/**
 * @brief Initialize battery/supply voltage measurement
 *
 * Calls divider_setup() and tracks whether initialization was successful.
 * Must be called before battery_sample() can return valid readings.
 *
 * @return 0 on success, negative error code on failure
 */
int16_t battery_setup(void)
{
	int16_t rc = divider_setup();

	battery_ok = (rc == 0);
	if (ENABLE_PRINT)
		LOG_INF("Battery setup: %d %d", rc, battery_ok);
	return rc;
}

/**
 * @brief Enable or disable the voltage measurement circuit
 *
 * Controls the power GPIO that enables the voltage divider circuit
 * for measurement. Should be enabled before sampling and disabled
 * after to save power.
 *
 * @param enable true to enable measurement, false to disable
 * @return 0 on success, -ENOENT if not initialized, or GPIO error code
 */
int16_t battery_measure_enable(bool enable)
{
	int16_t rc = -ENOENT;

	if (battery_ok) {
		const struct gpio_dt_spec *gcp = &divider_config.power_gpios;

		rc = 0;
		if (gcp->port) {
			rc = gpio_pin_set_dt(gcp, enable);
		}
	}
	return rc;
}

/**
 * @brief Take a single voltage sample
 *
 * Performs one ADC reading and converts to millivolts. If a voltage
 * divider is configured, applies the divider ratio to calculate
 * actual voltage.
 *
 * @note battery_setup() must be called first and battery_measure_enable(true)
 *       should be called before sampling for accurate readings.
 *
 * @return Voltage in millivolts, or negative error code on failure
 */
int16_t battery_sample(void)
{
	int16_t rc = -ENOENT;

	if (battery_ok) {
		struct divider_data *ddp = &divider_data;
		const struct divider_config *dcp = &divider_config;
		struct adc_sequence *sp = &ddp->adc_seq;

		rc = adc_read(ddp->adc, sp);
		sp->calibrate = false;
		if (rc == 0) {
			int32_t val = ddp->raw;

			adc_raw_to_millivolts(adc_ref_internal(ddp->adc),
					      ddp->adc_cfg.gain,
					      sp->resolution,
					      &val);

			if (dcp->output_ohm != 0) {
				rc = val * (uint64_t)dcp->full_ohm
					/ dcp->output_ohm;
				if (ENABLE_PRINT)
					LOG_INF("raw %u ~ %u mV => %d mV",
					ddp->raw, val, rc);
			} else {
				rc = val;
				// if (ENABLE_PRINT)
				// 	LOG_INF("raw %u ~ %u mV", ddp->raw, val);
			}
		}
	}

	return rc;
}

/**
 * @brief Read MCU supply voltage
 *
 * Performs a complete measurement cycle of the supply voltage that
 * powers the MCU. Used when operating without a boost converter.
 *
 * The function:
 * 1. Initializes the measurement circuit (battery_setup)
 * 2. Enables the measurement circuit
 * 3. Takes 5 consecutive samples with 20ms delays
 * 4. Averages the readings for noise reduction
 * 5. Disables the measurement circuit to save power
 *
 * @return Supply voltage in millivolts, or 40000 on initialization failure
 */

uint16_t read_Vsupp_mv(void) {
	battery_setup();
	k_sleep(K_MSEC(5));

	// Retry battery_measure_enable() up to 3 times to handle transient ADC init failures.
	int16_t rc = -1;
	for (uint8_t attempt = 0; attempt < 3; attempt++) {
		rc = battery_measure_enable(true);
		if (rc == 0) break;
		LOG_ERR("battery_measure_enable failed (attempt %u): %d\n", attempt + 1, rc);
		k_sleep(K_MSEC(50));
		battery_setup(); // Re-init ADC before next attempt
	}

  	int32_t batt_mV = 0;
	k_sleep(K_MSEC(15));
	if (rc != 0) {
		LOG_ERR("Failed initialize battery measurement after 3 attempts: %d\n", rc);
		return 40000;
	}


// uint16_t read_Vsupp_mv(void) {
// 	battery_setup();
// 	uint16_t rc = battery_measure_enable(true);
//   	int32_t batt_mV = 0;
// 	// k_sleep(K_MSEC(10));
// 	k_sleep(K_MSEC(15));
// 	if (rc != 0) {
// 		LOG_ERR("Failed initialize battery measurement: %d", rc);
// 		return 40000;
// 	}


  for (uint8_t i = 0; i < 5; i++)
  {
    batt_mV += battery_sample();
    // k_sleep(K_MSEC(20));
	k_sleep(K_MSEC(30));
  }
  batt_mV = batt_mV/5;
  
	if (batt_mV < 0) {
		LOG_ERR("Failed to read battery voltage: %d", batt_mV);
		return 40000;
	} else {
		if (ENABLE_PRINT)
			LOG_INF("- Battery voltage: %d mV", batt_mV);
	}

	battery_measure_enable(false);
	return (uint16_t) batt_mV;
}
```
